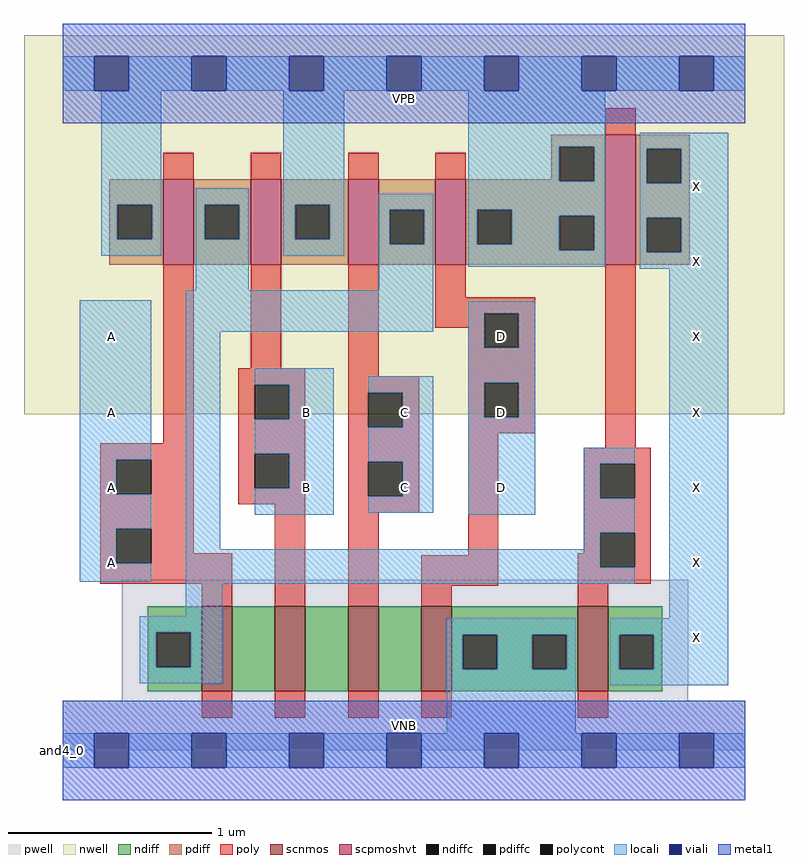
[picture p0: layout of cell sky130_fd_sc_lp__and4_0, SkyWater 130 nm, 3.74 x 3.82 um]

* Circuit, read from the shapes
.subckt sky130_fd_sc_lp__and4_0 A B C D VGND VNB VPB VPWR X
XM1 n1 A n2 VNB sky130_fd_pr__nfet_01v8 w=0.42 l=0.15
XM2 n3 B n1 VNB sky130_fd_pr__nfet_01v8 w=0.42 l=0.15
XM3 n4 C n3 VNB sky130_fd_pr__nfet_01v8 w=0.42 l=0.15
XM4 VGND D n4 VNB sky130_fd_pr__nfet_01v8 w=0.42 l=0.15
XM5 X n2 VGND VNB sky130_fd_pr__nfet_01v8 w=0.42 l=0.15
XM6 n2 A VPWR VPB sky130_fd_pr__pfet_01v8_hvt w=0.42 l=0.15
XM7 VPWR B n2 VPB sky130_fd_pr__pfet_01v8_hvt w=0.42 l=0.15
XM8 n2 C VPWR VPB sky130_fd_pr__pfet_01v8_hvt w=0.42 l=0.15
XM9 VPWR D n2 VPB sky130_fd_pr__pfet_01v8_hvt w=0.42 l=0.15
XM10 X n2 VPWR VPB sky130_fd_pr__pfet_01v8_hvt w=0.64 l=0.15
.ends

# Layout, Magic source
magic
tech sky130A
magscale 1 2
<< nwell >>
rect -38 331 710 704
<< pwell >>
rect 58 49 616 168
rect 0 0 672 49
<< scnmos >>
rect 137 58 167 142
rect 209 58 239 142
rect 281 58 311 142
rect 353 58 383 142
rect 507 58 537 142
<< scpmoshvt >>
rect 99 478 129 562
rect 185 478 215 562
rect 281 478 311 562
rect 367 478 397 562
rect 534 478 564 606
<< ndiff >>
rect 84 116 137 142
rect 84 82 92 116
rect 126 82 137 116
rect 84 58 137 82
rect 167 58 209 142
rect 239 58 281 142
rect 311 58 353 142
rect 383 114 507 142
rect 383 80 394 114
rect 428 80 462 114
rect 496 80 507 114
rect 383 58 507 80
rect 537 114 590 142
rect 537 80 548 114
rect 582 80 590 114
rect 537 58 590 80
<< pdiff >>
rect 481 594 534 606
rect 481 562 489 594
rect 46 537 99 562
rect 46 503 54 537
rect 88 503 99 537
rect 46 478 99 503
rect 129 537 185 562
rect 129 503 140 537
rect 174 503 185 537
rect 129 478 185 503
rect 215 537 281 562
rect 215 503 229 537
rect 263 503 281 537
rect 215 478 281 503
rect 311 532 367 562
rect 311 498 322 532
rect 356 498 367 532
rect 311 478 367 498
rect 397 560 489 562
rect 523 560 534 594
rect 397 532 534 560
rect 397 498 408 532
rect 442 526 534 532
rect 442 498 489 526
rect 397 492 489 498
rect 523 492 534 526
rect 397 478 534 492
rect 564 592 617 606
rect 564 558 575 592
rect 609 558 617 592
rect 564 524 617 558
rect 564 490 575 524
rect 609 490 617 524
rect 564 478 617 490
<< ndiffc >>
rect 92 82 126 116
rect 394 80 428 114
rect 462 80 496 114
rect 548 80 582 114
<< pdiffc >>
rect 54 503 88 537
rect 140 503 174 537
rect 229 503 263 537
rect 322 498 356 532
rect 489 560 523 594
rect 408 498 442 532
rect 489 492 523 526
rect 575 558 609 592
rect 575 490 609 524
<< poly >>
rect 534 606 564 632
rect 99 562 129 588
rect 185 562 215 588
rect 281 562 311 588
rect 367 562 397 588
rect 99 302 129 478
rect 185 376 215 478
rect 37 286 129 302
rect 37 252 53 286
rect 87 252 129 286
rect 37 218 129 252
rect 173 360 239 376
rect 173 326 189 360
rect 223 326 239 360
rect 173 292 239 326
rect 173 258 189 292
rect 223 258 239 292
rect 173 242 239 258
rect 37 184 53 218
rect 87 194 129 218
rect 87 184 167 194
rect 37 164 167 184
rect 137 142 167 164
rect 209 142 239 242
rect 281 368 311 478
rect 367 446 397 478
rect 367 430 465 446
rect 367 416 415 430
rect 399 396 415 416
rect 449 396 465 430
rect 281 352 351 368
rect 281 318 301 352
rect 335 318 351 352
rect 281 284 351 318
rect 281 250 301 284
rect 335 250 351 284
rect 281 234 351 250
rect 399 362 465 396
rect 399 328 415 362
rect 449 328 465 362
rect 399 312 465 328
rect 281 142 311 234
rect 399 192 429 312
rect 534 298 564 478
rect 513 282 579 298
rect 513 248 529 282
rect 563 248 579 282
rect 513 214 579 248
rect 513 194 529 214
rect 353 162 429 192
rect 507 180 529 194
rect 563 180 579 214
rect 507 164 579 180
rect 353 142 383 162
rect 507 142 537 164
rect 137 32 167 58
rect 209 32 239 58
rect 281 32 311 58
rect 353 32 383 58
rect 507 32 537 58
<< polycont >>
rect 53 252 87 286
rect 189 326 223 360
rect 189 258 223 292
rect 53 184 87 218
rect 415 396 449 430
rect 301 318 335 352
rect 301 250 335 284
rect 415 328 449 362
rect 529 248 563 282
rect 529 180 563 214
<< locali >>
rect 0 649 31 683
rect 65 649 127 683
rect 161 649 223 683
rect 257 649 319 683
rect 353 649 415 683
rect 449 649 511 683
rect 545 649 607 683
rect 641 649 672 683
rect 38 537 97 649
rect 38 503 54 537
rect 88 503 97 537
rect 38 487 97 503
rect 131 537 183 553
rect 131 503 140 537
rect 174 503 183 537
rect 131 453 183 503
rect 217 537 277 649
rect 399 594 534 649
rect 399 560 489 594
rect 523 560 534 594
rect 217 503 229 537
rect 263 503 277 537
rect 217 487 277 503
rect 311 532 365 548
rect 311 498 322 532
rect 356 498 365 532
rect 311 453 365 498
rect 399 532 534 560
rect 399 498 408 532
rect 442 526 534 532
rect 442 498 489 526
rect 399 492 489 498
rect 523 492 534 526
rect 399 476 534 492
rect 568 592 655 608
rect 568 558 575 592
rect 609 558 655 592
rect 568 524 655 558
rect 568 490 575 524
rect 609 490 655 524
rect 568 474 655 490
rect 17 286 87 443
rect 17 252 53 286
rect 17 218 87 252
rect 17 184 53 218
rect 17 166 87 184
rect 121 412 365 453
rect 399 430 465 442
rect 121 198 155 412
rect 399 396 415 430
rect 449 396 465 430
rect 189 360 267 376
rect 223 326 267 360
rect 189 292 267 326
rect 223 258 267 292
rect 189 232 267 258
rect 301 352 365 368
rect 335 318 365 352
rect 301 284 365 318
rect 335 250 365 284
rect 301 234 365 250
rect 399 362 465 396
rect 399 328 415 362
rect 449 328 465 362
rect 399 232 465 328
rect 513 282 563 298
rect 513 248 529 282
rect 513 214 563 248
rect 513 198 529 214
rect 121 180 529 198
rect 121 164 563 180
rect 121 132 157 164
rect 76 116 157 132
rect 597 130 655 474
rect 76 82 92 116
rect 126 82 157 116
rect 76 66 157 82
rect 378 114 505 130
rect 378 80 394 114
rect 428 80 462 114
rect 496 80 505 114
rect 378 17 505 80
rect 539 114 655 130
rect 539 80 548 114
rect 582 80 655 114
rect 539 64 655 80
rect 0 -17 31 17
rect 65 -17 127 17
rect 161 -17 223 17
rect 257 -17 319 17
rect 353 -17 415 17
rect 449 -17 511 17
rect 545 -17 607 17
rect 641 -17 672 17
<< viali >>
rect 31 649 65 683
rect 127 649 161 683
rect 223 649 257 683
rect 319 649 353 683
rect 415 649 449 683
rect 511 649 545 683
rect 607 649 641 683
rect 31 -17 65 17
rect 127 -17 161 17
rect 223 -17 257 17
rect 319 -17 353 17
rect 415 -17 449 17
rect 511 -17 545 17
rect 607 -17 641 17
<< metal1 >>
rect 0 683 672 715
rect 0 649 31 683
rect 65 649 127 683
rect 161 649 223 683
rect 257 649 319 683
rect 353 649 415 683
rect 449 649 511 683
rect 545 649 607 683
rect 641 649 672 683
rect 0 617 672 649
rect 0 17 672 49
rect 0 -17 31 17
rect 65 -17 127 17
rect 161 -17 223 17
rect 257 -17 319 17
rect 353 -17 415 17
rect 449 -17 511 17
rect 545 -17 607 17
rect 641 -17 672 17
rect 0 -49 672 -17
<< labels >>
flabel pwell s 0 0 672 49 0 FreeSans 200 0 0 0 VNB
port 6 nsew ground bidirectional
flabel nwell s 0 617 672 666 0 FreeSans 200 0 0 0 VPB
port 7 nsew power bidirectional
rlabel comment s 0 0 0 0 4 and4_0
flabel metal1 s 0 617 672 666 0 FreeSans 340 0 0 0 VPWR
port 8 nsew power bidirectional
flabel metal1 s 0 0 672 49 0 FreeSans 340 0 0 0 VGND
port 5 nsew ground bidirectional
flabel locali s 31 168 65 202 0 FreeSans 340 0 0 0 A
port 1 nsew signal input
flabel locali s 31 242 65 276 0 FreeSans 340 0 0 0 A
port 1 nsew signal input
flabel locali s 31 316 65 350 0 FreeSans 340 0 0 0 A
port 1 nsew signal input
flabel locali s 31 390 65 424 0 FreeSans 340 0 0 0 A
port 1 nsew signal input
flabel locali s 223 242 257 276 0 FreeSans 340 0 0 0 B
port 2 nsew signal input
flabel locali s 223 316 257 350 0 FreeSans 340 0 0 0 B
port 2 nsew signal input
flabel locali s 319 242 353 276 0 FreeSans 340 0 0 0 C
port 3 nsew signal input
flabel locali s 319 316 353 350 0 FreeSans 340 0 0 0 C
port 3 nsew signal input
flabel locali s 607 94 641 128 0 FreeSans 340 0 0 0 X
port 9 nsew signal output
flabel locali s 415 242 449 276 0 FreeSans 340 0 0 0 D
port 4 nsew signal input
flabel locali s 415 316 449 350 0 FreeSans 340 0 0 0 D
port 4 nsew signal input
flabel locali s 415 390 449 424 0 FreeSans 340 0 0 0 D
port 4 nsew signal input
flabel locali s 607 538 641 572 0 FreeSans 340 0 0 0 X
port 9 nsew signal output
flabel locali s 607 464 641 498 0 FreeSans 340 0 0 0 X
port 9 nsew signal output
flabel locali s 607 390 641 424 0 FreeSans 340 0 0 0 X
port 9 nsew signal output
flabel locali s 607 316 641 350 0 FreeSans 340 0 0 0 X
port 9 nsew signal output
flabel locali s 607 242 641 276 0 FreeSans 340 0 0 0 X
port 9 nsew signal output
flabel locali s 607 168 641 202 0 FreeSans 340 0 0 0 X
port 9 nsew signal output
<< properties >>
string LEFsite unit
string LEFclass CORE
string FIXED_BBOX 0 0 672 666
string GDS_FILE $PDKPATH/libs.ref/sky130_fd_sc_lp/gds/sky130_fd_sc_lp.gds
string LEFsymmetry X Y R90
string GDS_END 6303490
string GDS_START 6295946
<< end >>
